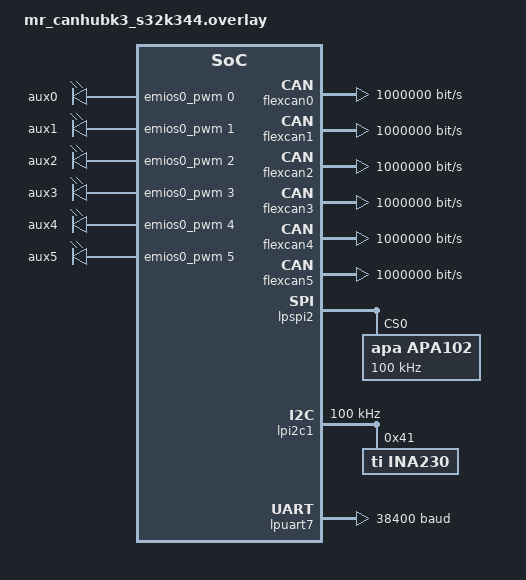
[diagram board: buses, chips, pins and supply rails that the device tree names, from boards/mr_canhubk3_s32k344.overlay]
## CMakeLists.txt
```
#-------------------------------------------------------------------------------
# Zephyr Cerebri Application
#
# Copyright (c) 2023 CogniPilot Foundation
# SPDX-License-Identifier: Apache-2.0

cmake_minimum_required(VERSION 3.13.1)

if (${BOARD} STREQUAL "mr_canhubk3"
    OR ${BOARD} STREQUAL "mr_canhubk3/s32k344")
  message(STATUS "enabling mr_canhubk3_adap shield")
  set(SHIELD mr_canhubk3_adap)
endif()

find_package(Zephyr REQUIRED HINTS $ENV{ZEPHYR_BASE})

project(pubsub LANGUAGES C)

target_compile_options(app PRIVATE -Wall -Wextra -Wno-unused-parameter -Werror)

set(SOURCE_FILES
  src/main.c
  )

target_sources(app PRIVATE ${SOURCE_FILES})
```

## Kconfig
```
# Copyright (c) 2021 Nordic Semiconductor ASA
# SPDX-License-Identifier: Apache-2.0
#
# This file is the application Kconfig entry point. All application Kconfig
# options can be defined here or included via other application Kconfig files.
# You can browse these options using the west targets menuconfig (terminal) or
# guiconfig (GUI).
mainmenu "Pubsub test"
source "Kconfig.zephyr"

module = PUBSUB
module-str = pubsub
source "subsys/logging/Kconfig.template.log_config"
```

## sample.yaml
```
sample:
  description: pubsub
  name: pubsub
common:
  build_only: true
tests:
  pubsub.posix:
    tags:
      - pubsub
    integration_platforms:
      - native_posix
  pubsub.vmu_rt1170/mimxrt1176/cm7:
    tags:
      - pubsub
    integration_platforms:
      - vmu_rt1170/mimxrt1176/cm7
  pubsub.mr_canhubk3/s32k344:
    tags:
      - pubsub
    integration_platforms:
      - mr_canhubk3/s32k344
```

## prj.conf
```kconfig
CONFIG_CEREBRI_APP_NAME="pubsub"

CONFIG_SHELL_STACK_SIZE=8192
CONFIG_INIT_STACKS=y

CONFIG_NO_OPTIMIZATIONS=n
CONFIG_SYS_CLOCK_TICKS_PER_SEC=10000
CONFIG_TICKLESS_KERNEL=n
CONFIG_ZROS=y
CONFIG_LOG_MODE_DEFERRED=y
CONFIG_PUBSUB_LOG_LEVEL_DBG=y

CONFIG_CEREBRI_CORE_COMMON=y
CONFIG_ZROS_SENSE_IMU=y
CONFIG_ZROS_SENSE_MAG=y
CONFIG_CEREBRI_SENSE_WHEEL_ODOMETRY=y
CONFIG_CEREBRI_SYNAPSE_TOPIC=y

CONFIG_LOG=y
CONFIG_ASSERT=n

# modules
CONFIG_SYNAPSE_PB=y
CONFIG_NANOPB=y

# Debug
CONFIG_CEREBRI_SENSE_WHEEL_ODOMETRY_LOG_LEVEL_DBG=n
CONFIG_ZROS_SENSE_IMU_LOG_LEVEL_DBG=n
CONFIG_CEREBRI_SENSE_SAFETY_LOG_LEVEL_DBG=n

# General config
CONFIG_POSIX_API=y
CONFIG_NEWLIB_LIBC=y
CONFIG_MAIN_THREAD_PRIORITY=5
CONFIG_SYSTEM_WORKQUEUE_PRIORITY=-2
CONFIG_SYS_CLOCK_TICKS_PER_SEC=10000

# Networking config
CONFIG_NET_SHELL=y
CONFIG_NETWORKING=y
CONFIG_NET_IPV4=y
CONFIG_NET_IPV6=n
CONFIG_NET_TCP=y
CONFIG_NET_SOCKETS=y

# Network address config
CONFIG_NET_CONFIG_SETTINGS=y
CONFIG_NET_STATISTICS=y
CONFIG_NET_MGMT_EVENT_INFO=y
CONFIG_NET_MGMT_EVENT_MONITOR=y
CONFIG_NET_BUF_POOL_USAGE=y
CONFIG_NET_DEBUG_NET_PKT_ALLOC=y
CONFIG_NET_CONFIG_NEED_IPV4=y
CONFIG_NET_CONFIG_MY_IPV4_ADDR="192.0.2.1"
CONFIG_NET_CONFIG_PEER_IPV4_ADDR="192.0.2.2"

# STATS
CONFIG_THREAD_RUNTIME_STATS=y
CONFIG_SCHED_THREAD_USAGE=y
CONFIG_SCHED_THREAD_USAGE_ANALYSIS=y
CONFIG_SCHED_THREAD_USAGE_ALL=y
CONFIG_SCHED_THREAD_USAGE_AUTO_ENABLE=y
```

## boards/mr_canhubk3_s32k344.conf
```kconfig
CONFIG_ENTROPY_GENERATOR=y
CONFIG_TEST_RANDOM_GENERATOR=y
CONFIG_CEREBRI_DREAM_SIL=n
CONFIG_CEREBRI_ACTUATE_PWM=n
CONFIG_CEREBRI_SENSE_POWER=n
CONFIG_CEREBRI_SENSE_WHEEL_ODOMETRY=n
CONFIG_BUGGY3_MOTOR_ENB_REQUIRED=n
CONFIG_LED_STRIP=n
CONFIG_APA102_STRIP=n
CONFIG_CEREBRI_SENSE_SAFETY=n

CONFIG_PWM=y

CONFIG_CAN=y
CONFIG_CAN_MAX_FILTER=5
CONFIG_CAN_SHELL=y

CONFIG_NET_DRIVERS=y
CONFIG_NET_CANBUS=y

CONFIG_NET_SOCKETS_CAN=y
CONFIG_NET_DEFAULT_IF_CANBUS_RAW=y

CONFIG_CAN_LOG_LEVEL_DBG=n
CONFIG_CAN_FD_MODE=y
CONFIG_SHELL_ARGC_MAX=72
CONFIG_I2C=y
CONFIG_SENSOR=y
CONFIG_HEAP_MEM_POOL_SIZE=16384

# Debugging
CONFIG_DEBUG_THREAD_INFO=y

# Logging
CONFIG_LOG=y
#CONFIG_LOG_MODE_DEFERRED=n
#CONFIG_LOG_BACKEND_NET=n
#CONFIG_LOG_BACKEND_NET_SERVER="192.0.2.2"
```

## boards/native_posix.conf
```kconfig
CONFIG_ETH_NATIVE_POSIX=y
CONFIG_TEST_RANDOM_GENERATOR=y
CONFIG_SYS_CLOCK_TICKS_PER_SEC=200
CONFIG_NATIVE_POSIX_SLOWDOWN_TO_REAL_TIME=n

CONFIG_NO_OPTIMIZATIONS=y
CONFIG_NATIVE_UART_0_ON_STDINOUT=y
CONFIG_NATIVE_UART_AUTOATTACH_DEFAULT_CMD="xterm -fa Monospcae -fs 12 -fg grey -bg black -T cerebri-shell -e screen %s &"

CONFIG_CEREBRI_BOOT_BANNER=n
CONFIG_CEREBRI_DREAM_SIL=y

CONFIG_CEREBRI_ACTUATE_LED_ARRAY=n
CONFIG_ZROS_SENSE_IMU=n
CONFIG_ZROS_SENSE_BARO=n
CONFIG_ZROS_SENSE_MAG=n
CONFIG_CEREBRI_SENSE_SAFETY=n
CONFIG_CEREBRI_SENSE_WHEEL_ODOMETRY=n

CONFIG_CEREBRI_DREAM_SIL_LOG_LEVEL_DBG=n
CONFIG_CEREBRI_CONTROL_ACKERMANN_LOG_LEVEL_DBG=y

CONFIG_NEWLIB_LIBC=n
CONFIG_EXTERNAL_LIBC=y
CONFIG_POSIX_API=n
```

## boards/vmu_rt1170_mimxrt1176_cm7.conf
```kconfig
CONFIG_CEREBRI_DREAM_SIL=n
CONFIG_CEREBRI_ACTUATE_PWM=y
CONFIG_CEREBRI_ACTUATE_PWM_NUMBER=3
CONFIG_CEREBRI_SENSE_POWER=y
CONFIG_ZROS_SENSE_GNSS=y
CONFIG_BUGGY3_MOTOR_ENB_REQUIRED=y


# steering
CONFIG_CEREBRI_ACTUATE_PWM_USE_POS_0=y
CONFIG_CEREBRI_ACTUATE_PWM_INDEX_0=0
CONFIG_CEREBRI_ACTUATE_PWM_LINEAR_0=y
CONFIG_CEREBRI_ACTUATE_PWM_LINEAR_M_0=400
CONFIG_CEREBRI_ACTUATE_PWM_LINEAR_M_DIV_0=1
CONFIG_CEREBRI_ACTUATE_PWM_LINEAR_B_0=1500
CONFIG_CEREBRI_ACTUATE_PWM_LINEAR_B_DIV_0=1

# motor enable
CONFIG_CEREBRI_ACTUATE_PWM_INDEX_1=0
CONFIG_CEREBRI_ACTUATE_PWM_USE_NANO_SECONDS_1=y
CONFIG_CEREBRI_ACTUATE_PWM_PULSE_MIN_1=0
CONFIG_CEREBRI_ACTUATE_PWM_PULSE_MAX_1=50000
CONFIG_CEREBRI_ACTUATE_PWM_PULSE_CENTER_1=25000


# throttle
CONFIG_CEREBRI_ACTUATE_PWM_INDEX_2=0
CONFIG_CEREBRI_ACTUATE_PWM_USE_NANO_SECONDS_2=y
CONFIG_CEREBRI_ACTUATE_PWM_PULSE_MIN_2=0
CONFIG_CEREBRI_ACTUATE_PWM_PULSE_MAX_2=50000
CONFIG_CEREBRI_ACTUATE_PWM_PULSE_CENTER_2=25000
CONFIG_CEREBRI_ACTUATE_PWM_LINEAR_2=y
CONFIG_CEREBRI_ACTUATE_PWM_LINEAR_M_2=273158
CONFIG_CEREBRI_ACTUATE_PWM_LINEAR_M_DIV_2=1000
CONFIG_CEREBRI_ACTUATE_PWM_LINEAR_B_2=248474
CONFIG_CEREBRI_ACTUATE_PWM_LINEAR_B_DIV_2=10

CONFIG_PWM=y

CONFIG_CAN=y
CONFIG_CAN_MAX_FILTER=5
CONFIG_CAN_SHELL=y

CONFIG_NET_DRIVERS=y
CONFIG_NET_CANBUS=y

CONFIG_NET_SOCKETS_CAN=y
CONFIG_NET_DEFAULT_IF_CANBUS_RAW=y

CONFIG_CAN_LOG_LEVEL_DBG=n
CONFIG_CAN_FD_MODE=y
CONFIG_SHELL_ARGC_MAX=72
CONFIG_I2C=y
CONFIG_SENSOR=y
CONFIG_HEAP_MEM_POOL_SIZE=16384

# Debugging
CONFIG_DEBUG_THREAD_INFO=y

# Logging
CONFIG_LOG=y
#CONFIG_LOG_MODE_DEFERRED=n
#CONFIG_LOG_BACKEND_NET=n
#CONFIG_LOG_BACKEND_NET_SERVER="192.0.2.2"
```

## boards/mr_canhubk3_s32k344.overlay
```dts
/* SPDX-License-Identifier: Apache-2.0 */
/* Copyright 2023 CogniPilot Foundation */
#include <zephyr/dt-bindings/sensor/ina230.h>

/ {
	pwm_shell: pwm_shell {
		compatible = "pwm-leds";
		aux0: aux0 {
			pwms = <&emios0_pwm 0 PWM_HZ(50) PWM_POLARITY_NORMAL>;
		};
		aux1: aux1 {
			pwms = <&emios0_pwm 1 PWM_HZ(20000) PWM_POLARITY_NORMAL>;
		};
		aux2: aux2 {
			pwms = <&emios0_pwm 2 PWM_HZ(20000) PWM_POLARITY_NORMAL>;
		};
		aux3: aux3 {
			pwms = <&emios0_pwm 3 PWM_HZ(50) PWM_POLARITY_NORMAL>;
		};
		aux4: aux4 {
			pwms = <&emios0_pwm 4 PWM_HZ(50) PWM_POLARITY_NORMAL>;
		};
		aux5: aux5 {
			pwms = <&emios0_pwm 5 PWM_HZ(50) PWM_POLARITY_NORMAL>;
		};
	};

	chosen {
		zephyr,canbus = &flexcan3;
	};

	aliases {
		can0 = &flexcan0;
		can1 = &flexcan1;
		can2 = &flexcan2;
		can3 = &flexcan3;
		can4 = &flexcan4;
		can5 = &flexcan5;
		/* power sensors */
		power0 = &ina230;
		/* safety button */
		safety-button = &arming_button_mr_canhubk3_adap;
		/* wheel odometry */
		wheel-odometry0 = &qdec0;
	};
};

&emios0_pwm {
	pwm_0 {
	};
	pwm_1 {
		prescaler = <1>;
	};
	pwm_2 {
		prescaler = <1>;
		duty-cycle = <0>;
	};
	pwm_3 {
		prescaler = <16>;
	};
	pwm_4 {
		prescaler = <16>;
	};
	pwm_5 {
		prescaler = <16>;
	};
};



&flexcan0 {
	status = "okay";
	bus-speed = <1000000>;
	bus-speed-data = <4000000>;
};

&flexcan1 {
	status = "okay";
	bus-speed = <1000000>;
	bus-speed-data = <4000000>;
};

&flexcan2 {
	status = "okay";
	bus-speed = <1000000>;
	bus-speed-data = <4000000>;
};

&flexcan3 {
	status = "okay";
	bus-speed = <1000000>;
	bus-speed-data = <4000000>;
};

&flexcan4 {
	status = "okay";
	bus-speed = <1000000>;
	bus-speed-data = <4000000>;
};

&flexcan5 {
	status = "okay";
	bus-speed = <1000000>;
	bus-speed-data = <4000000>;
};

&lpspi2 {
	status = "okay";
	apa102: apa102@0 {
	compatible = "apa,apa102";
		status = "okay";
		reg = <0>;
		spi-max-frequency = <100000>;
	};
};

&lpi2c1 {
	status = "okay";
	pinctrl-0 = <&lpi2c1_default>;
	pinctrl-names = "default";
	clock-frequency = <I2C_BITRATE_STANDARD>;

	ina230: ina230@41 {
		compatible = "ti,ina230";
		reg = <0x41>;
		current-lsb-microamps = <5000>;
		rshunt-micro-ohms = <500>;
	};
};


/* GNSS 1 */
uart0: &lpuart7 {
	status = "okay";
	current-speed = <38400>;
};
```

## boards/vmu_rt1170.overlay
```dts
/* SPDX-License-Identifier: Apache-2.0 */
/* Copyright 2023 CogniPilot Foundation */
#include <zephyr/dt-bindings/sensor/ina230.h>

/ {
	pwm_shell: pwm_shell {
		compatible = "pwm-leds";
		aux0: aux0 {
			pwms = <&flexpwm1_pwm0 0 PWM_HZ(50) PWM_POLARITY_NORMAL>;
		};
		aux1: aux1 {
			pwms = <&flexpwm1_pwm1 0 PWM_HZ(20000) PWM_POLARITY_NORMAL>;
		};
		aux2: aux2 {
			pwms = <&flexpwm1_pwm2 0 PWM_HZ(20000) PWM_POLARITY_NORMAL>;
		};
		aux3: aux3 {
			pwms = <&flexpwm2_pwm0 0 PWM_HZ(50) PWM_POLARITY_NORMAL>;
		};
		aux4: aux4 {
			pwms = <&flexpwm2_pwm1 0 PWM_HZ(50) PWM_POLARITY_NORMAL>;
		};
		aux5: aux5 {
			pwms = <&flexpwm2_pwm2 1 PWM_HZ(50) PWM_POLARITY_NORMAL>;
		};
		aux6: aux6 {
			pwms = <&flexpwm2_pwm3 0 PWM_HZ(50) PWM_POLARITY_NORMAL>;
		};
		aux7: aux7 {
			pwms = <&flexpwm3_pwm0 1 PWM_HZ(50) PWM_POLARITY_NORMAL>;
		};
	};

	chosen {
		zephyr,canbus = &flexcan3;
	};

	aliases {
		can0 = &flexcan1;
		can1 = &flexcan2;
		can2 = &flexcan3;
		telem1 = &lpuart8; /* Use telem2 as telem1 */
		/* accelerometers */
		accel0 = &bmi08x_accel;
		accel1 = &icm42688_0;
		accel2 = &icm42688_1;
		/* gyroscopes */
		gyro0 = &icm42688_0;
		gyro1 = &icm42688_1;
		gyro2 = &bmi08x_gyro;
		/* magnetometers */
		mag0 = &ist8310;
		mag1 = &bmm150;
		/* barometric altimeters */
		baro0 = &bmp388_0;
		baro1 = &bmp388_1;
		/* power sensors */
		power0 = &ina230;
		/* wheel odometry */
		wheel-odometry0 = &qdec1;
		/* safety button */
		safety-button = &arming_button;
		status-led = &ncp5623c;
	};
};

&flexpwm1_pwm0 {
	nxp,prescaler = <64>;
};

&flexpwm1_pwm1 {
	nxp,prescaler = <8>;
};

&flexpwm1_pwm2 {
	nxp,prescaler = <8>;
};

&flexpwm2_pwm0 {
	nxp,prescaler = <64>;
};

&flexpwm2_pwm1 {
	nxp,prescaler = <64>;
};

&flexpwm2_pwm2 {
	nxp,prescaler = <64>;
};

&flexpwm2_pwm3 {
	nxp,prescaler = <64>;
};

&flexpwm3_pwm0 {
	nxp,prescaler = <64>;
};

&flexcan1 {
	status = "okay";
	bus-speed = <1000000>;
	bus-speed-data = <4000000>;
};

&flexcan2 {
	status = "okay";
	bus-speed = <1000000>;
	bus-speed-data = <4000000>;
};

&flexcan3 {
	status = "okay";
	bus-speed = <1000000>;
	bus-speed-data = <4000000>;
};

&lpi2c1 {
	status = "okay";
	pinctrl-0 = <&pinmux_lpi2c1>;
	pinctrl-names = "default";
	clock-frequency = <I2C_BITRATE_FAST>;

	ina230: ina230@41 {
		compatible = "ti,ina230";
		reg = <0x41>;
		current-lsb-microamps = <5000>;
		rshunt-micro-ohms = <500>;
	};
};

/* GNSS 1 */
uart0: &lpuart3 {
       status = "okay";
       current-speed = <38400>;
};
/* GNSS 2 */
uart1: &lpuart5 {
       status = "okay";
       current-speed = <38400>;
};

/* QDEC conflicts with the CTS/RTS from LPUART4/TELEM1 */
lpuart4: &lpuart4 {
       status = "disabled";
};

&pinctrl {

	pinmux_qdec1: pinmux_qdec1 {
		group0 {
			pinmux = <&iomuxc_gpio_disp_b1_07_xbar1_xbar_in33>,
				<&iomuxc_gpio_disp_b1_05_xbar1_xbar_in31>;
			drive-strength = "normal";
			slew-rate = "slow";
		};
	};
};

&qdec1 {
	status = "okay";
	pinctrl-0 = <&pinmux_qdec1>;
	pinctrl-names = "default";
	counts-per-revolution = <685>;
	filter-count = <0>;
	xbar = < &xbar1 >;
};

&xbar1 {
	status = "okay";
	xbar-maps = < (33|0x100) (109|0x100) >, /* kXBARA1_InputIomuxXbarIn33 <-> kXBARA1_OutputDec1Phasea */
		    < (31|0x100) (108|0x100) >; /* kXBARA1_InputIomuxXbarIn31 <-> kXBARA1_OutputDec1Phaseb */
};
```

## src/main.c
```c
/*
 * Copyright (c) 2023 CogniPilot Foundation
 * SPDX-License-Identifier: Apache-2.0
 */

#include <stdio.h>

// zephyr
#include <zephyr/init.h>
#include <zephyr/logging/log.h>
#include <zephyr/logging/log_ctrl.h>

// zros
#include <zros/private/zros_node_struct.h>
#include <zros/private/zros_pub_struct.h>
#include <zros/private/zros_sub_struct.h>
#include <zros/zros_node.h>
#include <zros/zros_pub.h>
#include <zros/zros_sub.h>

#include <synapse_topic_list.h>

#define MY_STACK_SIZE 1024

#define USLEEP_PUB 50000

#define PUBLISHER_COUNT  10
#define SUBSCRIBER_COUNT 10

LOG_MODULE_REGISTER(pubsub, CONFIG_PUBSUB_LOG_LEVEL);

#if PUBLISHER_COUNT > 0
/********************************************************************
 * pub entry point
 ********************************************************************/
synapse_pb_Imu pub_msg_imu[PUBLISHER_COUNT] = {};
synapse_pb_BatteryState pub_msg_battery_state[PUBLISHER_COUNT] = {};

void *allocator_malloc(size_t size)
{
	return NULL;
}

void *allocator_realloc(void *ptr, size_t new_size)
{
	printf("reallocating");
	return NULL;
}

void allocator_free(void *pt)
{
}

static void pub_entry_point(void *p0, void *p1, void *p2)
{
	int id = (int)(p0);

	struct zros_node node = {};
	char name[20];
	snprintf(name, sizeof(name), "pub %u", id);
	zros_node_init(&node, name);

	// snprintf(node.name, sizeof(node.name), "pub %d", id);
	int rc = 0;
	synapse_pb_Imu *imu = &pub_msg_imu[id];
	synapse_pb_BatteryState *battery = &pub_msg_battery_state[id];

	struct zros_pub pub_imu;
	rc = zros_pub_init(&pub_imu, &node, &topic_imu, imu);
	if (rc != 0) {
		LOG_ERR("pub %d init failed %d\n", id, rc);
		return;
	}

	struct zros_pub pub_battery;
	rc = zros_pub_init(&pub_battery, &node, &topic_battery_state, battery);
	if (rc != 0) {
		LOG_ERR("pub %d init failed %d\n", id, rc);
		return;
	}

	while (true) {
		k_usleep(USLEEP_PUB);
		double t = (double)k_uptime_ticks() / CONFIG_SYS_CLOCK_TICKS_PER_SEC;

		// imu
		imu->has_angular_velocity = true;
		imu->angular_velocity.x = 1 + id + t;
		imu->angular_velocity.y = 2 + id + t;
		imu->angular_velocity.z = 3 + id + t;

		imu->has_linear_acceleration = true;
		imu->linear_acceleration.x = 1;
		imu->linear_acceleration.y = 2;
		imu->linear_acceleration.z = 3;
		rc = zros_pub_update(&pub_imu);
		if (rc != 0) {
			LOG_ERR("pub %d imu, rc: %d", id, rc);
		}

		// battery
		battery->voltage = 10.0;
		battery->current = 1.0;
		rc = zros_pub_update(&pub_battery);
		if (rc != 0) {
			LOG_ERR("pub %d battery, rc: %d", id, rc);
		}
		LOG_DBG("\npub %d", id);
	}

	zros_pub_fini(&pub_battery);
	zros_pub_fini(&pub_imu);
	zros_node_fini(&node);
}
#endif

#if SUBSCRIBER_COUNT > 0
/********************************************************************
 * sub entry point
 ********************************************************************/
synapse_pb_Imu sub_msg_imu[SUBSCRIBER_COUNT];
synapse_pb_BatteryState sub_msg_battery[SUBSCRIBER_COUNT];

static void sub_entry_point(void *p0, void *p1, void *p2)
{
	int id = (int)p0;
	int rc = 0;

	struct zros_node node = {};
	char name[20];
	snprintf(name, sizeof(name), "sub %u", id);
	zros_node_init(&node, name);

	// imu
	synapse_pb_Imu *imu = &sub_msg_imu[id];
	struct zros_sub sub_imu;
	rc = zros_sub_init(&sub_imu, &node, &topic_imu, imu, 10);
	if (rc != 0) {
		LOG_DBG("sub %d imu, init failed %d", id, rc);
		return;
	}

	// battery
	synapse_pb_BatteryState *battery = &sub_msg_battery[id];
	struct zros_sub sub_battery;
	rc = zros_sub_init(&sub_battery, &node, &topic_battery_state, battery, 1);
	if (rc != 0) {
		LOG_DBG("sub %d battery, init failed %d", id, rc);
		return;
	}

	struct k_poll_event events[2] = {
		*zros_sub_get_event(&sub_imu),
		*zros_sub_get_event(&sub_battery),
	};

	while (true) {
		int rc = 0;
		rc = k_poll(events, ARRAY_SIZE(events), K_FOREVER);
		if (rc != 0) {
			LOG_DBG("sub polling error! %d", rc);
		}

		// imu
		if (zros_sub_update_available(&sub_imu)) {
			zros_sub_update(&sub_imu);
			LOG_DBG("sub %d, imu: %10.4f %10.4f %10.4f", id, imu->angular_velocity.x,
				imu->angular_velocity.y, imu->angular_velocity.z);
		}

		// battery
		if (zros_sub_update_available(&sub_battery)) {
			zros_sub_update(&sub_battery);
			LOG_DBG("sub %d, battery: %10.4f %10.4f", id, battery->voltage,
				battery->current);
		}
	}

	zros_sub_fini(&sub_imu);
	zros_sub_fini(&sub_battery);
	zros_node_fini(&node);
}
#endif

/********************************************************************
 * publisher threads
 ********************************************************************/
#if PUBLISHER_COUNT > 0
K_THREAD_DEFINE(pub0, MY_STACK_SIZE, pub_entry_point, 0, NULL, NULL, 1, 0, 0);
#endif

#if PUBLISHER_COUNT > 1
K_THREAD_DEFINE(pub1, MY_STACK_SIZE, pub_entry_point, 1, NULL, NULL, 2, 0, 0);
#endif

#if PUBLISHER_COUNT > 2
K_THREAD_DEFINE(pub2, MY_STACK_SIZE, pub_entry_point, 2, NULL, NULL, 3, 0, 0);
#endif

#if PUBLISHER_COUNT > 3
K_THREAD_DEFINE(pub3, MY_STACK_SIZE, pub_entry_point, 3, NULL, NULL, 4, 0, 0);
#endif

#if PUBLISHER_COUNT > 4
K_THREAD_DEFINE(pub4, MY_STACK_SIZE, pub_entry_point, 4, NULL, NULL, 1, 0, 0);
#endif

#if PUBLISHER_COUNT > 5
K_THREAD_DEFINE(pub5, MY_STACK_SIZE, pub_entry_point, 5, NULL, NULL, 2, 0, 0);
#endif

/********************************************************************
 * subscribers threads
 ********************************************************************/
#if SUBSCRIBER_COUNT > 0
K_THREAD_DEFINE(sub0, MY_STACK_SIZE, sub_entry_point, 0, NULL, NULL, 4, 0, 0);
#endif

#if SUBSCRIBER_COUNT > 1
K_THREAD_DEFINE(sub1, MY_STACK_SIZE, sub_entry_point, 1, NULL, NULL, 5, 0, 0);
#endif

#if SUBSCRIBER_COUNT > 2
K_THREAD_DEFINE(sub2, MY_STACK_SIZE, sub_entry_point, 2, NULL, NULL, 5, 0, 0);
#endif

#if SUBSCRIBER_COUNT > 3
K_THREAD_DEFINE(sub3, MY_STACK_SIZE, sub_entry_point, 3, NULL, NULL, 5, 0, 0);
#endif

#if SUBSCRIBER_COUNT > 4
K_THREAD_DEFINE(sub4, MY_STACK_SIZE, sub_entry_point, 4, NULL, NULL, 5, 0, 0);
#endif

#if SUBSCRIBER_COUNT > 5
K_THREAD_DEFINE(sub5, MY_STACK_SIZE, sub_entry_point, 5, NULL, NULL, 5, 0, 0);
#endif

static int set_initial_log_level()
{
	log_filter_set(NULL, 0, log_source_id_get("pubsub"), LOG_LEVEL_INF);
	return 0;
}

SYS_INIT(set_initial_log_level, APPLICATION, CONFIG_APPLICATION_INIT_PRIORITY);

// vi: ts=4 sw=4 et
```
